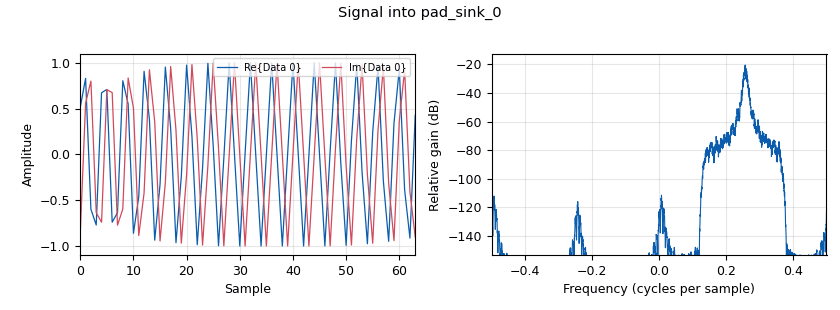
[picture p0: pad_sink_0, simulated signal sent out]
options:
  parameters:
    generate_options: hb
    id: signal_cpm
    output_language: python
    title: CPM signal
  states: {}

blocks:
- name: run_time
  id: variable
  parameters:
    value: '1.0'
  states: {}
- name: analog_random_source_x_0
  id: analog_random_source_x
  parameters:
    max: '2'
    min: '0'
    num_samps: round(run_time * signal_bandwidth)
    repeat: 'True'
    type: byte
  states: {}
- name: analog_sig_source_x_0
  id: analog_sig_source_x
  parameters:
    amp: '1'
    freq: offset_freq
    offset: '0'
    phase: '0'
    samp_rate: samp_rate
    type: complex
    waveform: analog.GR_SIN_WAVE
  states: {}
- name: blocks_multiply_xx_0
  id: blocks_multiply_xx
  parameters:
    type: complex
  states: {}
- name: blocks_throttle_0_0
  id: blocks_throttle
  parameters:
    samples_per_second: samp_rate
    type: complex
  states: {state: disabled}
- name: blocks_throttle_0_0_0
  id: blocks_throttle
  parameters:
    samples_per_second: samp_rate
    type: byte
  states: {state: disabled}
- name: digital_cpmmod_bc_0
  id: digital_cpmmod_bc
  parameters:
    L: '4'
    mod_index: '0.5'
    samples_per_symbol: '4'
    type: analog.cpm.LREC
  states: {}
- name: offset_freq
  id: parameter
  parameters:
    label: Signal Central Frequency
    value: 5e6
  states: {}
- name: pad_sink_0
  id: pad_sink
  parameters:
    label: out
    type: complex
  states: {}
- name: rational_resampler_xxx_0
  id: rational_resampler_xxx
  parameters:
    decim: int(signal_bandwidth)
    interp: int(samp_rate)
    taps: ''
    type: ccc
  states: {}
- name: run_time_0
  id: parameter
  parameters:
    label: Running time in seconds
    value: '1.0'
  states: {state: disabled}
- name: samp_rate
  id: parameter
  parameters:
    label: Baseband Sampling Rate
    value: 20e6
  states: {}
- name: signal_bandwidth
  id: parameter
  parameters:
    label: Signal Bandwidth
    value: 5e6
  states: {}

connections:
- [analog_random_source_x_0, '0', blocks_throttle_0_0_0, '0']
- [analog_random_source_x_0, '0', digital_cpmmod_bc_0, '0']
- [analog_sig_source_x_0, '0', blocks_multiply_xx_0, '1']
- [analog_sig_source_x_0, '0', blocks_throttle_0_0, '0']
- [blocks_multiply_xx_0, '0', pad_sink_0, '0']
- [blocks_throttle_0_0, '0', blocks_multiply_xx_0, '1']
- [digital_cpmmod_bc_0, '0', rational_resampler_xxx_0, '0']
- [rational_resampler_xxx_0, '0', blocks_multiply_xx_0, '0']

metadata:
  file_format: 1
